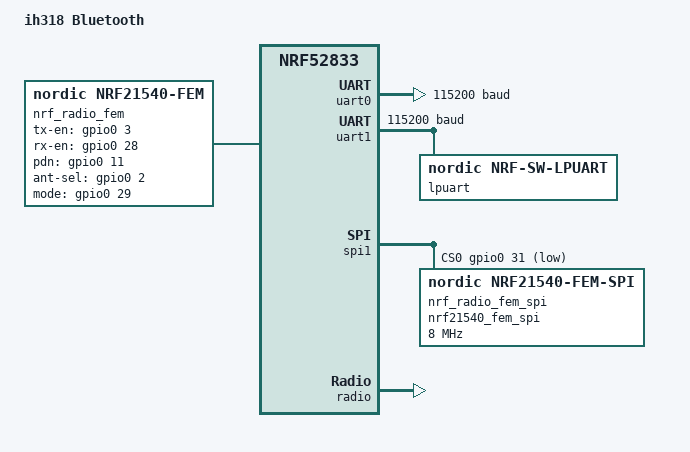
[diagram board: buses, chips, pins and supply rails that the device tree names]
/dts-v1/;
#include <nordic/nrf52833_qdaa.dtsi>
#include "ih318_ble-pinctrl.dtsi"

/ {
	model = "ih318 Bluetooth";
	compatible = "Ihlu,ih318-ble";

	chosen {
		zephyr,sram = &sram0;
		zephyr,flash = &flash0;
		zephyr,code-partition = &slot0_partition;
		zephyr,console = &uart0;
		zephyr,shell-uart = &uart0;
		zephyr,uart = &uart0;
		zephyr,lpuart = &lpuart;
	};

	aliases {
		uart1 = &uart1;
		watchdog0 = &wdt0;
	};

	nrf_radio_fem: nrf21540 {
		compatible = "nordic,nrf21540-fem";
		tx-en-gpios = <&gpio0 3 GPIO_ACTIVE_HIGH>;
		rx-en-gpios = <&gpio0 28 GPIO_ACTIVE_HIGH>;
		pdn-gpios = <&gpio0 11 GPIO_ACTIVE_HIGH>;
		ant-sel-gpios = <&gpio0 2 GPIO_ACTIVE_HIGH>;
		mode-gpios = <&gpio0 29 GPIO_ACTIVE_HIGH>;
		supply-voltage-mv = <1800>;
		tx-en-settle-time-us = <11>;
		rx-en-settle-time-us = <11>;
		pdn-settle-time-us = <18>;
		trx-hold-time-us = <3>;
		spi-if = <&nrf_radio_fem_spi>;
		zephyr,pm-device-runtime-auto;
	};
};

&gpiote {
	status = "okay";
	interrupts = <6 1>;
};

&gpio0 {
	status = "okay";
};

&gpio1 {
	status = "okay";
};

&uart0 {
	compatible = "nordic,nrf-uarte";
	status = "okay";
	current-speed = <115200>;
	pinctrl-0 = <&uart0_default>;
	pinctrl-1 = <&uart0_sleep>;
	// pinctrl-0 = <&uart0_default_dk>;
	// pinctrl-1 = <&uart0_sleep_dk>;
	pinctrl-names = "default", "sleep";
};

&uart1 {
	compatible = "nordic,nrf-uarte";
	status = "okay";
	current-speed = <115200>;
	pinctrl-0 = <&uart1_default>;
	pinctrl-1 = <&uart1_sleep>;
	pinctrl-names = "default", "sleep";

	lpuart: nrf-sw-lpuart {
		compatible = "nordic,nrf-sw-lpuart";
		status = "okay";
		req-pin = <20>;
		rdy-pin = <15>;
		wakeup-source;
	};
};

&spi1 {
	status = "okay";
	pinctrl-0 = <&spi1_default>;
	pinctrl-1 = <&spi1_sleep>;
	pinctrl-names = "default", "sleep";
	cs-gpios = <&gpio0 31 GPIO_ACTIVE_LOW>;

	nrf_radio_fem_spi: nrf21540_fem_spi@0 {
		compatible = "nordic,nrf21540-fem-spi";
		reg = <0>;
		status = "okay";
		spi-max-frequency = <8000000>;
	};
};

&radio {
	fem = <&nrf_radio_fem>;
};

&flash0 {
	partitions {
		compatible = "fixed-partitions";
		#address-cells = <1>;
		#size-cells = <1>;

		boot_partition: partition@0 {
			label = "mcuboot";
			reg = <0x00000000 DT_SIZE_K(48)>;
		};

		slot0_partition: partition@c000 {
			label = "image-0";
			reg = <0x0000c000 DT_SIZE_K(220)>;
		};

		slot1_partition: partition@43000 {
			label = "image-1";
			reg = <0x00043000 DT_SIZE_K(220)>;
		};

		storage_partition: partition@7a000 {
			label = "storage";
			reg = <0x0007a000 DT_SIZE_K(24)>;
		};
	};
};
